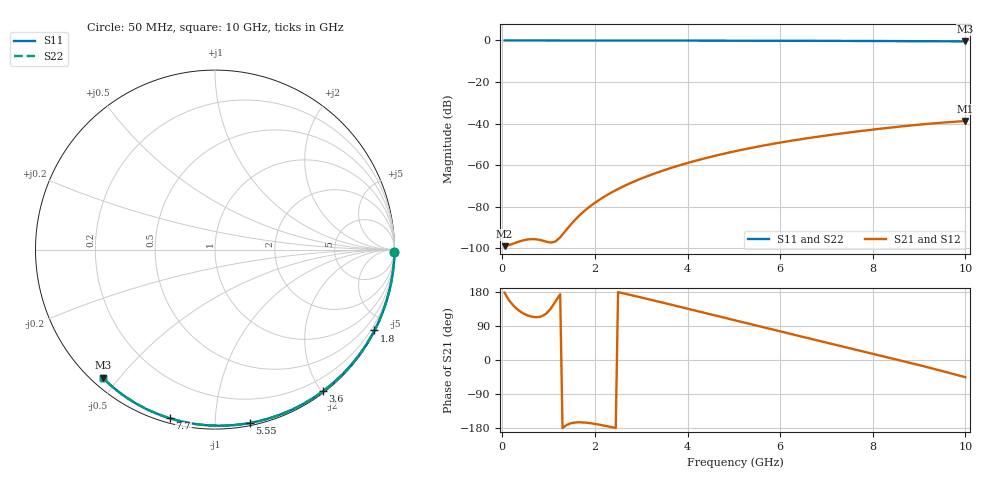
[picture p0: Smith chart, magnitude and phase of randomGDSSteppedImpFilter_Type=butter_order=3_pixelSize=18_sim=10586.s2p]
! freq	dB(S11)	phase(S11)	dB(S12)	phase(S12)
!  dB(S21)	phase(S21)	dB(S22)	phase(S22)
!S-par simulation data
#  GHz  S  DB  R 50
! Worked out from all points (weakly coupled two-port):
!   200 points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, 50 MHz to 10 GHz, reference 50 ohm
!   highest |S21| = -38.75 dB at 10 GHz (marker M1); lowest = -98.9 dB at 50 MHz (marker M2)
!   lowest |S11| = -0.5 dB at 10 GHz (marker M3), VSWR 38.39, Z = 1.57 - j22.6 ohm
!   |S11| at or under -10 dB: nowhere
!   |S22| runs from -0.5 to 0.0 dB; largest |S21 - S12| = 0
!   S11 on the Smith chart (normalised r, x): 50 MHz: open; 1.8 GHz: 0.04, -4.18; 3.6 GHz: 0.02, -2.02; 5.55 GHz: 0.02, -1.22; 7.7 GHz: 0.02, -0.77; 10 GHz: 0.03, -0.45
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0.05  -0.00 -0.8  -98.91 177.9  -98.91 177.9  -0.00 -0.8
0.9  -0.02 -13.6  -96.44 118.7  -96.44 118.7  -0.02 -13.6
1.75  -0.03 -26.2  -82.40 -164.8  -82.40 -164.8  -0.03 -26.2
1.8  -0.03 -26.9  -81.45 -165.3  -81.45 -165.3  -0.03 -26.9
1.85  -0.04 -27.6  -80.54 -165.9  -80.54 -165.9  -0.04 -27.6
1.9  -0.04 -28.4  -79.67 -166.7  -79.67 -166.7  -0.04 -28.4
2.05  -0.04 -30.6  -77.27 -169.6  -77.27 -169.6  -0.04 -30.6
2.25  -0.04 -33.5  -74.46 -174.3  -74.46 -174.3  -0.04 -33.5
2.45  -0.05 -36.3  -71.98 -179.5  -71.98 -179.5  -0.05 -36.3
2.65  -0.05 -39.2  -69.77 175.0  -69.77 175.0  -0.05 -39.2
3  -0.06 -44.2  -66.39 165.0  -66.39 165.0  -0.06 -44.2
3.4  -0.07 -49.8  -63.08 153.3  -63.08 153.3  -0.07 -49.8
3.6  -0.07 -52.6  -61.60 147.4  -61.60 147.4  -0.07 -52.6
4.3  -0.09 -62.2  -57.09 126.5  -57.09 126.5  -0.09 -62.2
5.05  -0.11 -72.1  -53.14 104.0  -53.14 104.0  -0.11 -72.1
5.55  -0.13 -78.6  -50.90 89.0  -50.90 89.0  -0.13 -78.6
6.1  -0.15 -85.5  -48.72 72.5  -48.72 72.5  -0.15 -85.5
6.7  -0.18 -92.9  -46.63 54.8  -46.63 54.8  -0.18 -92.9
7.7  -0.24 -104.9  -43.65 25.5  -43.65 25.5  -0.24 -104.9
8.35  -0.29 -112.5  -41.97 6.3  -41.97 6.3  -0.29 -112.5
9.25  -0.37 -122.8  -39.97 -21.2  -39.97 -21.2  -0.37 -122.8
10  -0.45 -131.2  -38.75 -45.5  -38.75 -45.5  -0.45 -131.2
